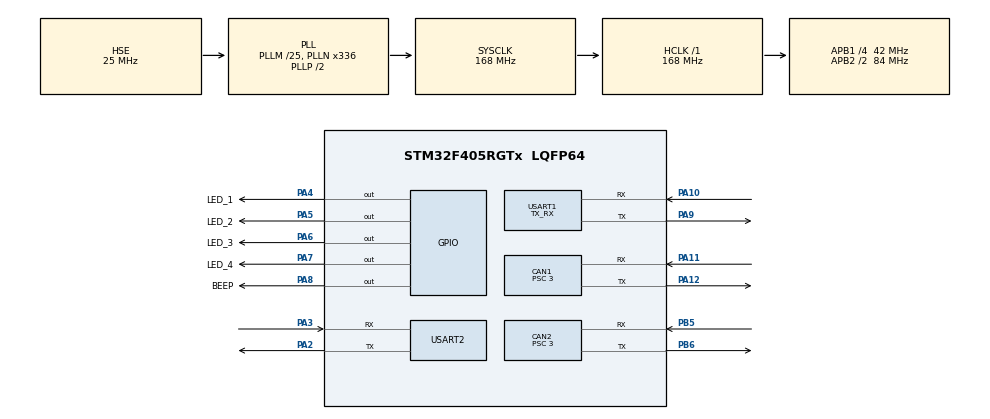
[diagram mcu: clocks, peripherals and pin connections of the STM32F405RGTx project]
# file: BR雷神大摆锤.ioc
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CAN1.ABOM=ENABLE
CAN1.AWUM=ENABLE
CAN1.BS1=CAN_BS1_9TQ
CAN1.BS2=CAN_BS2_4TQ
CAN1.CalculateBaudRate=1000000
CAN1.CalculateTimeBit=1000
CAN1.CalculateTimeQuantum=71.42857142857143
CAN1.NART=ENABLE
CAN1.Prescaler=3
CAN1.RFLM=DISABLE
CAN2.ABOM=ENABLE
CAN2.AWUM=ENABLE
CAN2.BS1=CAN_BS1_9TQ
CAN2.BS2=CAN_BS2_4TQ
CAN2.CalculateBaudRate=1000000
CAN2.CalculateTimeBit=1000
CAN2.CalculateTimeQuantum=71.42857142857143
CAN2.NART=ENABLE
CAN2.Prescaler=3
Dma.Request0=USART1_RX
Dma.Request1=USART1_TX
Dma.Request2=USART2_RX
Dma.Request3=USART2_TX
Dma.USART1_RX.0.Direction=DMA_PERIPH_TO_MEMORY
Dma.USART1_RX.0.FIFOMode=DMA_FIFOMODE_DISABLE
Dma.USART1_RX.0.Instance=DMA2_Stream2
Dma.USART1_RX.0.MemDataAlignment=DMA_MDATAALIGN_BYTE
Dma.USART1_RX.0.MemInc=DMA_MINC_ENABLE
Dma.USART1_RX.0.Mode=DMA_NORMAL
Dma.USART1_RX.0.PeriphDataAlignment=DMA_PDATAALIGN_BYTE
Dma.USART1_RX.0.PeriphInc=DMA_PINC_DISABLE
Dma.USART1_RX.0.Priority=DMA_PRIORITY_LOW
Dma.USART1_TX.1.Direction=DMA_MEMORY_TO_PERIPH
Dma.USART1_TX.1.FIFOMode=DMA_FIFOMODE_DISABLE
Dma.USART1_TX.1.Instance=DMA2_Stream7
Dma.USART1_TX.1.MemDataAlignment=DMA_MDATAALIGN_BYTE
Dma.USART1_TX.1.MemInc=DMA_MINC_ENABLE
Dma.USART1_TX.1.Mode=DMA_NORMAL
Dma.USART1_TX.1.PeriphDataAlignment=DMA_PDATAALIGN_BYTE
Dma.USART1_TX.1.PeriphInc=DMA_PINC_DISABLE
Dma.USART1_TX.1.Priority=DMA_PRIORITY_LOW
Dma.USART2_RX.2.Direction=DMA_PERIPH_TO_MEMORY
Dma.USART2_RX.2.FIFOMode=DMA_FIFOMODE_DISABLE
Dma.USART2_RX.2.Instance=DMA1_Stream5
Dma.USART2_RX.2.MemDataAlignment=DMA_MDATAALIGN_BYTE
Dma.USART2_RX.2.MemInc=DMA_MINC_ENABLE
Dma.USART2_RX.2.Mode=DMA_NORMAL
Dma.USART2_RX.2.PeriphDataAlignment=DMA_PDATAALIGN_BYTE
Dma.USART2_RX.2.PeriphInc=DMA_PINC_DISABLE
Dma.USART2_RX.2.Priority=DMA_PRIORITY_LOW
Dma.USART2_TX.3.Direction=DMA_MEMORY_TO_PERIPH
Dma.USART2_TX.3.FIFOMode=DMA_FIFOMODE_DISABLE
Dma.USART2_TX.3.Instance=DMA1_Stream6
Dma.USART2_TX.3.MemDataAlignment=DMA_MDATAALIGN_BYTE
Dma.USART2_TX.3.MemInc=DMA_MINC_ENABLE
Dma.USART2_TX.3.Mode=DMA_NORMAL
Dma.USART2_TX.3.PeriphDataAlignment=DMA_PDATAALIGN_BYTE
Dma.USART2_TX.3.PeriphInc=DMA_PINC_DISABLE
Dma.USART2_TX.3.Priority=DMA_PRIORITY_LOW
FREERTOS.Tasks01=LedTask,24,128,LedWaterTask,As weak,NULL,Dynamic,NULL,NULL;BeepTask,24,128,BeepAlarmTask,As weak,NULL,Dynamic,NULL,NULL;ClawEcho_Task,31,128,Claw_Echo_Func,As weak,NULL,Dynamic,NULL,NULL;ClawUpdate_Task,40,128,Claw_Update_Func,As weak,NULL,Dynamic,NULL,NULL
Mcu.Family=STM32F4
Mcu.Name=STM32F405RGTx
Mcu.Package=LQFP64
NVIC.CAN1_RX0_IRQn=true\:5\:0\:true\:false\:true\:true\:true\:true\:true
NVIC.CAN1_RX1_IRQn=true\:5\:0\:true\:false\:true\:true\:true\:true\:true
NVIC.CAN2_RX0_IRQn=true\:5\:0\:false\:false\:true\:true\:true\:true\:true
NVIC.CAN2_RX1_IRQn=true\:5\:0\:false\:false\:true\:true\:true\:true\:true
NVIC.DMA1_Stream5_IRQn=true\:5\:0\:false\:false\:true\:true\:false\:true\:true
NVIC.DMA1_Stream6_IRQn=true\:5\:0\:false\:false\:true\:true\:false\:true\:true
NVIC.DMA2_Stream2_IRQn=true\:5\:0\:false\:false\:true\:true\:false\:true\:true
NVIC.DMA2_Stream7_IRQn=true\:5\:0\:false\:false\:true\:true\:false\:true\:true
NVIC.PriorityGroup=NVIC_PRIORITYGROUP_4
NVIC.TIM1_UP_TIM10_IRQn=true\:15\:0\:false\:false\:true\:false\:false\:true\:true
NVIC.TIM2_IRQn=true\:5\:0\:true\:false\:true\:true\:true\:true\:true
NVIC.TIM3_IRQn=true\:5\:0\:true\:false\:true\:true\:true\:true\:true
NVIC.TimeBase=TIM1_UP_TIM10_IRQn
NVIC.TimeBaseIP=TIM1
NVIC.USART1_IRQn=true\:5\:0\:true\:false\:true\:true\:true\:true\:true
NVIC.USART2_IRQn=true\:5\:0\:true\:false\:true\:true\:true\:true\:true
PA10.GPIO_PuPd=GPIO_PULLUP
PA10.GPIO_Speed=GPIO_SPEED_FREQ_VERY_HIGH
PA10.Mode=Asynchronous
PA10.Signal=USART1_RX
PA11.Mode=CAN_Activate
PA11.Signal=CAN1_RX
PA12.Mode=CAN_Activate
PA12.Signal=CAN1_TX
PA2.Mode=Asynchronous
PA2.Signal=USART2_TX
PA3.GPIO_PuPd=GPIO_PULLUP
PA3.Mode=Asynchronous
PA3.Signal=USART2_RX
PA4.GPIO_Label=LED_1
PA4.GPIO_ModeDefaultOutputPP=GPIO_MODE_OUTPUT_PP
PA4.GPIO_PuPd=GPIO_PULLDOWN
PA4.GPIO_Speed=GPIO_SPEED_FREQ_LOW
PA4.PinState=GPIO_PIN_RESET
PA4.Signal=GPIO_Output
PA5.GPIO_Label=LED_2
PA5.GPIO_PuPd=GPIO_PULLDOWN
PA5.Signal=GPIO_Output
PA6.GPIO_Label=LED_3
PA6.GPIO_PuPd=GPIO_PULLDOWN
PA6.Signal=GPIO_Output
PA7.GPIO_Label=LED_4
PA7.GPIO_PuPd=GPIO_PULLDOWN
PA7.Signal=GPIO_Output
PA8.GPIO_Label=BEEP
PA8.GPIO_PuPd=GPIO_PULLDOWN
PA8.Signal=GPIO_Output
PA9.Mode=Asynchronous
PA9.Signal=USART1_TX
PB5.Mode=CAN_Activate
PB5.Signal=CAN2_RX
PB6.Mode=CAN_Activate
PB6.Signal=CAN2_TX
PH0-OSC_IN.Mode=HSE-External-Oscillator
PH0-OSC_IN.Signal=RCC_OSC_IN
PH1-OSC_OUT.Mode=HSE-External-Oscillator
PH1-OSC_OUT.Signal=RCC_OSC_OUT
ProjectManager.HeapSize=0x800
ProjectManager.StackSize=0x400
ProjectManager.TargetToolchain=MDK-ARM V5.32
RCC.48MHZClocksFreq_Value=84000000
RCC.AHBFreq_Value=168000000
RCC.APB1CLKDivider=RCC_HCLK_DIV4
RCC.APB1Freq_Value=42000000
RCC.APB1TimFreq_Value=84000000
RCC.APB2CLKDivider=RCC_HCLK_DIV2
RCC.APB2Freq_Value=84000000
RCC.APB2TimFreq_Value=168000000
RCC.CortexFreq_Value=168000000
RCC.HCLKFreq_Value=168000000
RCC.HSE_VALUE=25000000
RCC.HSI_VALUE=16000000
RCC.LSE_VALUE=32768
RCC.PLLM=25
RCC.PLLN=336
RCC.PLLSourceVirtual=RCC_PLLSOURCE_HSE
RCC.SYSCLKFreq_VALUE=168000000
RCC.SYSCLKSource=RCC_SYSCLKSOURCE_PLLCLK
RCC.VCOOutputFreq_Value=336000000
TIM2.Period=1000-1
TIM2.Prescaler=84-1
TIM3.AutoReloadPreload=TIM_AUTORELOAD_PRELOAD_DISABLE
TIM3.Period=1000-1
TIM3.Prescaler=84-1
USART1.Mode=MODE_TX_RX
USART1.VirtualMode=VM_ASYNC
USART2.VirtualMode=VM_ASYNC
VP_FREERTOS_VS_CMSIS_V2.Mode=CMSIS_V2
VP_SYS_VS_tim1.Mode=TIM1
VP_TIM2_VS_ClockSourceINT.Mode=Internal
VP_TIM3_VS_ClockSourceINT.Mode=Internal
board=custom

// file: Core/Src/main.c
/* USER CODE BEGIN Header */
/**
  ******************************************************************************
  * @file           : main.c
  * @brief          : Main program body
  ******************************************************************************
  * @attention
  *
  * Copyright (c) 2026 STMicroelectronics.
  * All rights reserved.
  *
  * This software is licensed under terms that can be found in the LICENSE file
  * in the root directory of this software component.
  * If no LICENSE file comes with this software, it is provided AS-IS.
  *
  ******************************************************************************
  */
/* USER CODE END Header */
#include "main.h"
#include "cmsis_os.h"
#include "can.h"
#include "dma.h"
#include "tim.h"
#include "usart.h"
#include "gpio.h"

/* USER CODE BEGIN Includes */
#include "beep.h"
#include "led.h"
#include "exti_irqhandler.h"
#include "tim_irqhandler.h"
#include "uart_irqhandler.h"
#include "solenoid.h"

/* USER CODE END Includes */

void SystemClock_Config(void);
void MX_FREERTOS_Init(void);

int main(void)
{

  /* MCU Configuration--------------------------------------------------------*/

  /* Reset of all peripherals, Initializes the Flash interface and the Systick. */
  HAL_Init();

  /* Configure the system clock */
  SystemClock_Config();

  /* Initialize all configured peripherals */
  MX_GPIO_Init();
  MX_DMA_Init();
  MX_TIM2_Init();
  MX_TIM3_Init();
  MX_USART1_UART_Init();
  MX_CAN1_Init();
  MX_USART2_UART_Init();
  MX_CAN2_Init();
  /* USER CODE BEGIN 2 */
  Beep_Init();
  CAN_InitSendQueue();
  UART_Start_Recieve();
  solenoid_init(3); //UART控制
  // solenoid_init(); //CAN控制
  #if USE_DJ
  DJmotor_Init();
  #endif
  #if USE_ZMDR
  ZdriveInit();
  #endif
  /* USER CODE END 2 */

  /* Init scheduler */
  osKernelInitialize();  /* Call init function for freertos objects (in cmsis_os2.c) */
  MX_FREERTOS_Init();

  /* Start scheduler */
  osKernelStart();

  /* We should never get here as control is now taken by the scheduler */

  /* Infinite loop */
  while (1)
  {

  }
}

void SystemClock_Config(void)
{
  RCC_OscInitTypeDef RCC_OscInitStruct = {0};
  RCC_ClkInitTypeDef RCC_ClkInitStruct = {0};

  /** Configure the main internal regulator output voltage
  */
  __HAL_RCC_PWR_CLK_ENABLE();
  __HAL_PWR_VOLTAGESCALING_CONFIG(PWR_REGULATOR_VOLTAGE_SCALE1);

  /** Initializes the RCC Oscillators according to the specified parameters
  * in the RCC_OscInitTypeDef structure.
  */
  RCC_OscInitStruct.OscillatorType = RCC_OSCILLATORTYPE_HSE;
  RCC_OscInitStruct.HSEState = RCC_HSE_ON;
  RCC_OscInitStruct.PLL.PLLState = RCC_PLL_ON;
  RCC_OscInitStruct.PLL.PLLSource = RCC_PLLSOURCE_HSE;
  RCC_OscInitStruct.PLL.PLLM = 25;
  RCC_OscInitStruct.PLL.PLLN = 336;
  RCC_OscInitStruct.PLL.PLLP = RCC_PLLP_DIV2;
  RCC_OscInitStruct.PLL.PLLQ = 4;
  if (HAL_RCC_OscConfig(&RCC_OscInitStruct) != HAL_OK)
  {
    Error_Handler();
  }

  /** Initializes the CPU, AHB and APB buses clocks
  */
  RCC_ClkInitStruct.ClockType = RCC_CLOCKTYPE_HCLK|RCC_CLOCKTYPE_SYSCLK
                              |RCC_CLOCKTYPE_PCLK1|RCC_CLOCKTYPE_PCLK2;
  RCC_ClkInitStruct.SYSCLKSource = RCC_SYSCLKSOURCE_PLLCLK;
  RCC_ClkInitStruct.AHBCLKDivider = RCC_SYSCLK_DIV1;
  RCC_ClkInitStruct.APB1CLKDivider = RCC_HCLK_DIV4;
  RCC_ClkInitStruct.APB2CLKDivider = RCC_HCLK_DIV2;

  if (HAL_RCC_ClockConfig(&RCC_ClkInitStruct, FLASH_LATENCY_5) != HAL_OK)
  {
    Error_Handler();
  }
}

void HAL_TIM_PeriodElapsedCallback(TIM_HandleTypeDef *htim)
{
  if (htim->Instance == TIM1)
  {
    HAL_IncTick();
  }
  /* USER CODE BEGIN Callback 1 */
  TIM_PeriodElapsedCallback(htim);
  /* USER CODE END Callback 1 */
}

void Error_Handler(void)
{
  __disable_irq();
  while (1)
  {
  }
}

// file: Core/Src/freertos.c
/* USER CODE BEGIN Header */
/**
  ******************************************************************************
  * File Name          : freertos.c
  * Description        : Code for freertos applications
  ******************************************************************************
  * @attention
  *
  * Copyright (c) 2026 STMicroelectronics.
  * All rights reserved.
  *
  * This software is licensed under terms that can be found in the LICENSE file
  * in the root directory of this software component.
  * If no LICENSE file comes with this software, it is provided AS-IS.
  *
  ******************************************************************************
  */
/* USER CODE END Header */

#include "FreeRTOS.h"
#include "task.h"
#include "main.h"
#include "cmsis_os.h"

/* Definitions for LedTask */
osThreadId_t LedTaskHandle;
const osThreadAttr_t LedTask_attributes = {
  .name = "LedTask",
  .stack_size = 128 * 4,
  .priority = (osPriority_t) osPriorityNormal,
};
/* Definitions for BeepTask */
osThreadId_t BeepTaskHandle;
const osThreadAttr_t BeepTask_attributes = {
  .name = "BeepTask",
  .stack_size = 128 * 4,
  .priority = (osPriority_t) osPriorityNormal,
};
/* Definitions for ClawEcho_Task */
osThreadId_t ClawEcho_TaskHandle;
const osThreadAttr_t ClawEcho_Task_attributes = {
  .name = "ClawEcho_Task",
  .stack_size = 128 * 4,
  .priority = (osPriority_t) osPriorityNormal7,
};
/* Definitions for ClawUpdate_Task */
osThreadId_t ClawUpdate_TaskHandle;
const osThreadAttr_t ClawUpdate_Task_attributes = {
  .name = "ClawUpdate_Task",
  .stack_size = 128 * 4,
  .priority = (osPriority_t) osPriorityHigh,
};

void LedWaterTask(void *argument);
void BeepAlarmTask(void *argument);
void Claw_Echo_Func(void *argument);
void Claw_Update_Func(void *argument);

void MX_FREERTOS_Init(void); /* (MISRA C 2004 rule 8.1) */

void MX_FREERTOS_Init(void) {

  /* Create the thread(s) */
  /* creation of LedTask */
  LedTaskHandle = osThreadNew(LedWaterTask, NULL, &LedTask_attributes);

  /* creation of BeepTask */
  BeepTaskHandle = osThreadNew(BeepAlarmTask, NULL, &BeepTask_attributes);

  /* creation of ClawEcho_Task */
  ClawEcho_TaskHandle = osThreadNew(Claw_Echo_Func, NULL, &ClawEcho_Task_attributes);

  /* creation of ClawUpdate_Task */
  ClawUpdate_TaskHandle = osThreadNew(Claw_Update_Func, NULL, &ClawUpdate_Task_attributes);

}

__weak void LedWaterTask(void *argument)
{
  for(;;)
  {
    osDelay(1);
  }
}

__weak void BeepAlarmTask(void *argument)
{
  for(;;)
  {
    osDelay(1);
  }
}

__weak void Claw_Echo_Func(void *argument)
{
  for(;;)
  {
    osDelay(1);
  }
}

__weak void Claw_Update_Func(void *argument)
{
  for(;;)
  {
    osDelay(1);
  }
}
